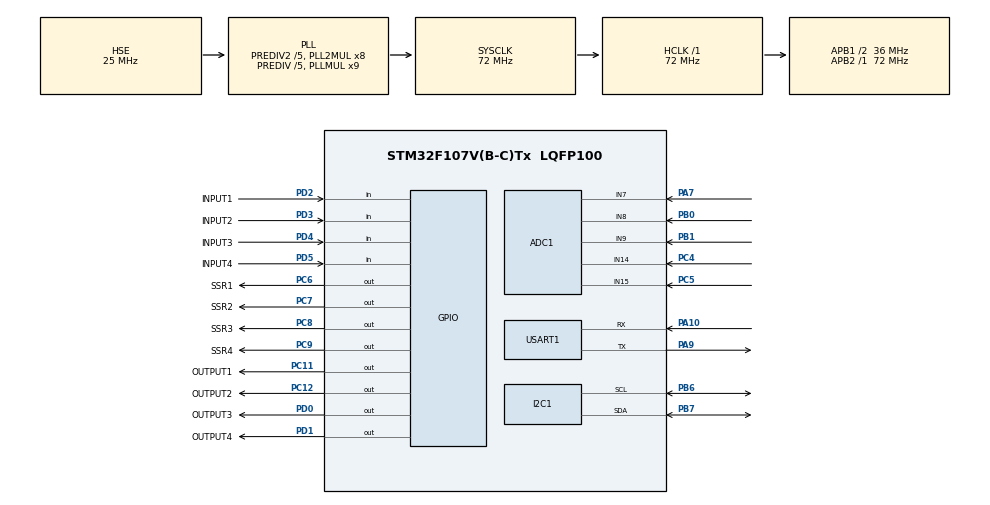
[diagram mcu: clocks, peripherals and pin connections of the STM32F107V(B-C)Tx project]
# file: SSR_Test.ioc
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ADC1.Channel-0\#ChannelRegularConversion=ADC_CHANNEL_14
ADC1.Channel-1\#ChannelRegularConversion=ADC_CHANNEL_15
ADC1.Channel-2\#ChannelRegularConversion=ADC_CHANNEL_8
ADC1.Channel-3\#ChannelRegularConversion=ADC_CHANNEL_9
ADC1.Channel-4\#ChannelRegularConversion=ADC_CHANNEL_7
ADC1.ContinuousConvMode=ENABLE
ADC1.NbrOfConversion=5
ADC1.NbrOfConversionFlag=1
ADC1.Rank-1\#ChannelRegularConversion=2
ADC1.Rank-2\#ChannelRegularConversion=3
ADC1.Rank-3\#ChannelRegularConversion=4
ADC1.Rank-4\#ChannelRegularConversion=5
ADC1.SamplingTime-0\#ChannelRegularConversion=ADC_SAMPLETIME_55CYCLES_5
ADC1.SamplingTime-1\#ChannelRegularConversion=ADC_SAMPLETIME_239CYCLES_5
ADC1.SamplingTime-2\#ChannelRegularConversion=ADC_SAMPLETIME_239CYCLES_5
ADC1.SamplingTime-3\#ChannelRegularConversion=ADC_SAMPLETIME_239CYCLES_5
ADC1.SamplingTime-4\#ChannelRegularConversion=ADC_SAMPLETIME_239CYCLES_5
ADC1.master=1
Dma.ADC1.0.Direction=DMA_PERIPH_TO_MEMORY
Dma.ADC1.0.Instance=DMA1_Channel1
Dma.ADC1.0.MemDataAlignment=DMA_MDATAALIGN_WORD
Dma.ADC1.0.MemInc=DMA_MINC_ENABLE
Dma.ADC1.0.Mode=DMA_CIRCULAR
Dma.ADC1.0.PeriphDataAlignment=DMA_PDATAALIGN_WORD
Dma.ADC1.0.PeriphInc=DMA_PINC_DISABLE
Dma.ADC1.0.Priority=DMA_PRIORITY_LOW
Dma.Request0=ADC1
I2C1.GeneralCallMode=I2C_GENERALCALL_DISABLE
I2C1.I2C_Mode=I2C_Standard
I2C1.NoStretchMode=I2C_NOSTRETCH_DISABLE
I2C1.OwnAddress=48
Mcu.Family=STM32F1
Mcu.Name=STM32F107V(B-C)Tx
Mcu.Package=LQFP100
NVIC.DMA1_Channel1_IRQn=true\:0\:0\:false\:false\:true\:false\:true\:true
NVIC.I2C1_ER_IRQn=true\:0\:0\:false\:false\:true\:true\:true\:true
NVIC.I2C1_EV_IRQn=true\:0\:0\:false\:false\:true\:true\:true\:true
NVIC.PriorityGroup=NVIC_PRIORITYGROUP_4
OSC_IN.Mode=HSE-External-Oscillator
OSC_IN.Signal=RCC_OSC_IN
OSC_OUT.Mode=HSE-External-Oscillator
OSC_OUT.Signal=RCC_OSC_OUT
PA10.Mode=Asynchronous
PA10.Signal=USART1_RX
PA13.Mode=Serial_Wire
PA13.Signal=SYS_JTMS-SWDIO
PA14.Mode=Serial_Wire
PA14.Signal=SYS_JTCK-SWCLK
PA7.Signal=ADCx_IN7
PA9.Mode=Asynchronous
PA9.Signal=USART1_TX
PB0.Signal=ADCx_IN8
PB1.Signal=ADCx_IN9
PB6.Mode=I2C
PB6.Signal=I2C1_SCL
PB7.Mode=I2C
PB7.Signal=I2C1_SDA
PC11.GPIO_Label=OUTPUT1
PC11.Signal=GPIO_Output
PC12.GPIO_Label=OUTPUT2
PC12.Signal=GPIO_Output
PC4.Signal=ADCx_IN14
PC5.Signal=ADCx_IN15
PC6.GPIO_Label=SSR1
PC6.Signal=GPIO_Output
PC7.GPIO_Label=SSR2
PC7.Signal=GPIO_Output
PC8.GPIO_Label=SSR3
PC8.Signal=GPIO_Output
PC9.GPIO_Label=SSR4
PC9.Signal=GPIO_Output
PD0.GPIO_Label=OUTPUT3
PD0.Signal=GPIO_Output
PD1.GPIO_Label=OUTPUT4
PD1.Signal=GPIO_Output
PD2.GPIO_Label=INPUT1
PD2.Signal=GPIO_Input
PD3.GPIO_Label=INPUT2
PD3.Signal=GPIO_Input
PD4.GPIO_Label=INPUT3
PD4.Signal=GPIO_Input
PD5.GPIO_Label=INPUT4
PD5.Signal=GPIO_Input
ProjectManager.HeapSize=0x200
ProjectManager.StackSize=0x400
ProjectManager.TargetToolchain=STM32CubeIDE
RCC.ADCPresc=RCC_ADCPCLK2_DIV6
RCC.AHBFreq_Value=72000000
RCC.APB1CLKDivider=RCC_HCLK_DIV2
RCC.APB1Freq_Value=36000000
RCC.APB1TimFreq_Value=72000000
RCC.APB2Freq_Value=72000000
RCC.APB2TimFreq_Value=72000000
RCC.HCLKFreq_Value=72000000
RCC.HSEDivPLL=RCC_HSE_PREDIV_DIV5
RCC.HSE_VALUE=25000000
RCC.PLLMUL=RCC_PLL_MUL9
RCC.PLLSourceVirtual=RCC_PLLSOURCE_HSE
RCC.Prediv1Source=RCC_PREDIV1_SOURCE_PLL2
RCC.Prediv2=RCC_HSE_PREDIV2_DIV5
RCC.SYSCLKFreq_VALUE=72000000
RCC.SYSCLKSource=RCC_SYSCLKSOURCE_PLLCLK
RCC.USBFreq_Value=48000000
SH.ADCx_IN14.0=ADC1_IN14,IN14
SH.ADCx_IN15.0=ADC1_IN15,IN15
SH.ADCx_IN7.0=ADC1_IN7,IN7
SH.ADCx_IN8.0=ADC1_IN8,IN8
SH.ADCx_IN9.0=ADC1_IN9,IN9
TIM2.Period=0xffff
TIM2.Prescaler=71
USART1.VirtualMode=VM_ASYNC
VP_TIM2_VS_ClockSourceINT.Mode=Internal
board=custom

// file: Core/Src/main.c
/* USER CODE BEGIN Header */
/**
  ******************************************************************************
  * @file           : main.c
  * @brief          : Main program body
  ******************************************************************************
  * @attention
  *
  * Copyright (c) 2023 STMicroelectronics.
  * All rights reserved.
  *
  * This software is licensed under terms that can be found in the LICENSE file
  * in the root directory of this software component.
  * If no LICENSE file comes with this software, it is provided AS-IS.
  *
  ******************************************************************************
  */
/* USER CODE END Header */
#include "main.h"

/* USER CODE BEGIN Includes */
#include <math.h>
#include <stdbool.h>
/* USER CODE END Includes */

ADC_HandleTypeDef hadc1;
DMA_HandleTypeDef hdma_adc1;

I2C_HandleTypeDef hi2c1;

TIM_HandleTypeDef htim2;

UART_HandleTypeDef huart1;

/* USER CODE BEGIN PV */
uint32_t ADC_ConvertedValues[4]; // Array to store ADC converted values

/* USER CODE END PV */

void SystemClock_Config(void);
static void MX_GPIO_Init(void);
static void MX_DMA_Init(void);
static void MX_I2C1_Init(void);
static void MX_ADC1_Init(void);
static void MX_TIM2_Init(void);
static void MX_USART1_UART_Init(void);

/* USER CODE BEGIN 0 */

#include <stdbool.h>
#include <math.h>

#define ADC_8BIT 8 // ADC bit depth
#define ADC_10BIT 10
#define ADC_12BIT 12
#define ADC_16BIT 16

#define BLR_ON 1 // baseline restore switch option
#define BLR_OFF 0

#define SGL_SCAN 1 // single scan mode
#define CNT_SCAN 0 // continuous scanning mode

#define AC_FREQ 60
const double TIP_1_PWM = 0.9;
const double TIP_2_PWM = 0.9;
const double TIP_3_PWM = 0.9;
const double TIP_4_PWM = 0.9;

const uint32_t period = 1000/AC_FREQ; // PWM period in milliseconds
uint32_t tip_1_onTime = TIP_1_PWM*period;
uint32_t tip_2_onTime = TIP_2_PWM*period;
uint32_t tip_3_onTime = TIP_3_PWM*period;
uint32_t tip_4_onTime = TIP_4_PWM*period;

typedef struct Rms {
    int instVal;
    float rmsVal;
    int dcBias;
    bool acquire;
    bool acqRdy;

    // private members
    bool blr; // baseline restoration switch
    bool mode;
    int rmsWindow;
    float alpha; // baseline restoration filter constant
    int error;
    short sampleIdx;
    float scaling;
    float scalingSq;
    float msVal;
    float sumInstVal;
    float temp_sumInstVal;
    float temp_sumSqInstVal;
    float sumSqInstVal;
} Rms;

void Rms_begin(Rms *self, float _range, unsigned char _rmsWindow, unsigned char _adcNob, bool _blr, bool _mode);
void Rms_start(Rms *self);
void Rms_stop(Rms *self);
void Rms_update(Rms *self, int _instVal);
void Rms_publish(Rms *self);

void Rms_begin(Rms *self, float _range, unsigned char _rmsWindow, unsigned char _adcNob, bool _blr, bool _mode) {
    self->mode = _mode;
    self->rmsWindow = _rmsWindow;
    self->blr = _blr;
    self->dcBias = pow(2, _adcNob) / 2; // dc-bias starting value
    self->scalingSq = (_range * _range) / (float)(self->rmsWindow * pow(2, 2 * _adcNob));
    self->temp_sumSqInstVal = 0;
    self->sampleIdx = 0;
    self->alpha = 0.7; // baseline restoration filter constant
}

void Rms_start(Rms *self) {
    self->acquire = true;
    self->acqRdy = false;
}

void Rms_stop(Rms *self) {
    self->acquire = false;
}

void Rms_update(Rms *self, int _instVal) {
    if (self->acquire) {
        if (self->blr) {
            self->instVal = _instVal - self->dcBias; // subtract DC-offset to restore the baseline.
            self->temp_sumInstVal += self->instVal;
        } else {
            self->instVal = _instVal;
        }
        self->temp_sumSqInstVal += (float)self->instVal * (float)self->instVal;
        if (self->sampleIdx == self->rmsWindow) {
            self->sumSqInstVal = self->temp_sumSqInstVal;
            if (self->blr) {
                self->sumInstVal = self->alpha * self->temp_sumInstVal + (1 - self->alpha) * self->sumInstVal; // calculate running average of sum instant values.
                self->error = (int)round(self->sumInstVal / self->rmsWindow); // calculate error of DC-bias
                self->dcBias = self->dcBias + self->error; // restore baseline
                self->temp_sumInstVal = 0;
                if (self->mode == SGL_SCAN) { //update status bits
                   self->acquire = false;
                self->acqRdy = true;
            }
        }
        self->temp_sumSqInstVal = 0;
        self->sampleIdx = 0;
    }
    self->sampleIdx++;
}
}

void Rms_publish(Rms *self) {
self->msVal = self->sumSqInstVal * self->scalingSq;
self->rmsVal = sqrt(self->msVal);
self->acqRdy = false;
}

#define LPERIOD 1000    // loop period time in us. In this case 1.0ms
#define ADC_INPUT 0     // define the used ADC input channel
//#define RMS_WINDOW 40   // rms window of 40 samples, means 2 periods @50Hz
#define RMS_WINDOW 50   // rms window of 50 samples, means 3 periods @60Hz

unsigned long nextLoop;
int adcVal;
int cnt=0;
float VoltRange = 5; // The full scale value is set to 5.00 Volts but can be changed when using an
                        // input scaling circuit in front of the ADC.

Rms readRms1;
Rms readRms2;
Rms readRms3;
Rms readRms4;

uint8_t received_data[9]={0,0,0,0,0,0,0};
uint8_t sent_data[11];
uint32_t overflow_count = 0; //variable to store overflow count
uint64_t microseconds = 0; //variable to store current microseconds
volatile uint8_t i2c_error_flag = 0;

uint64_t timeout = 500; // 500 milliseconds
uint64_t previous_time=0;

void TIM2_IRQHandler(void) //timer interrupt handler
{
    if (__HAL_TIM_GET_FLAG(&htim2, TIM_FLAG_UPDATE) != RESET) //check for update flag
    {
        if (__HAL_TIM_GET_IT_SOURCE(&htim2, TIM_IT_UPDATE) != RESET) //check for update interrupt
        {
            __HAL_TIM_CLEAR_IT(&htim2, TIM_IT_UPDATE); //clear update interrupt flag
            overflow_count++; //increment overflow count
        }
    }
}
void init_timer(void) //timer initialization function
{
    __HAL_RCC_TIM2_CLK_ENABLE(); //enable timer clock

    htim2.Instance = TIM2; //set timer instance
    htim2.Init.Period = 0xFFFF; //set timer period
    htim2.Init.Prescaler = 71; //set timer prescaler for microseconds
    htim2.Init.ClockDivision = 0;
    htim2.Init.CounterMode = TIM_COUNTERMODE_UP;
    htim2.Init.RepetitionCounter = 0;
    if (HAL_TIM_Base_Init(&htim2) != HAL_OK) //initialize timer
    {
        //Error_Handler(); //handle error
    }

    HAL_NVIC_SetPriority(TIM2_IRQn, 0, 0); //set timer interrupt priority
    HAL_NVIC_EnableIRQ(TIM2_IRQn); //enable timer interrupt
    __HAL_TIM_ENABLE_IT(&htim2, TIM_IT_UPDATE); //enable update interrupt
    HAL_TIM_Base_Start(&htim2); //start timer
}
uint64_t micros(void) //function to get current microseconds
{
    microseconds = (uint64_t)overflow_count * (0xFFFF + 1) + __HAL_TIM_GET_COUNTER(&htim2); //update microseconds
    return microseconds;
}

void delayMicroseconds(uint64_t us)
{
	uint64_t _current_us = micros();
	while(micros() - _current_us < us );
}

uint64_t millis(void) //function to get current milliseconds
{
    return micros() / 1000;
}

#define I2C_TIMEOUT 100

void I2C_Error_Handler(I2C_HandleTypeDef *hi2c) {
    // Check for errors and clear flags
    if (__HAL_I2C_GET_FLAG(hi2c, I2C_FLAG_AF)) {
        // Clear the Acknowledge Failure Flag
        __HAL_I2C_CLEAR_FLAG(hi2c, I2C_FLAG_AF);
    }

    if (__HAL_I2C_GET_FLAG(hi2c, I2C_FLAG_ARLO)) {
        // Clear the Arbitration Lost Flag
        __HAL_I2C_CLEAR_FLAG(hi2c, I2C_FLAG_ARLO);
    }

    if (__HAL_I2C_GET_FLAG(hi2c, I2C_FLAG_BERR)) {
        // Clear the Bus Error Flag
        __HAL_I2C_CLEAR_FLAG(hi2c, I2C_FLAG_BERR);
    }

    if (__HAL_I2C_GET_FLAG(hi2c, I2C_FLAG_OVR)) {
        // Clear the Overrun/Underrun Flag
        __HAL_I2C_CLEAR_FLAG(hi2c, I2C_FLAG_OVR);
    }

    // Reset the I2C peripheral
    HAL_I2C_DeInit(hi2c);
    HAL_I2C_Init(hi2c);

    // Re-enable I2C listening after resetting the peripheral
    HAL_I2C_EnableListen_IT(hi2c);

    // Wait for the bus to become free
    while (HAL_I2C_GetState(hi2c) != HAL_I2C_STATE_READY) {
        HAL_Delay(1);
    }
}

#define MAX_CONSECUTIVE_ERRORS 3

uint8_t consecutive_errors = 0;

void HAL_I2C_AddrCallback(I2C_HandleTypeDef *hi2c, uint8_t TransferDirection, uint16_t AddrMatchCode)
{
	HAL_StatusTypeDef status;

	if (TransferDirection == I2C_DIRECTION_TRANSMIT)
	{
		do {
			status = HAL_I2C_Slave_Sequential_Receive_IT(hi2c, received_data, 9, I2C_LAST_FRAME);
			if (status != HAL_OK) {
				// Receive error
				I2C_Error_Handler(&hi2c1);
			} else {
				// Update the states and timers after receiving new data
				previous_time = millis();
				consecutive_errors = 0;
			}
		} while (status != HAL_OK && consecutive_errors < MAX_CONSECUTIVE_ERRORS);
	}
	else
	{
		do {
			status = HAL_I2C_Slave_Sequential_Transmit_IT(hi2c, sent_data, 11, I2C_LAST_FRAME);
			if (status != HAL_OK) {
				// Transmission error
				I2C_Error_Handler(&hi2c1);
			} else {
				consecutive_errors = 0;
			}
		} while (status != HAL_OK && consecutive_errors < MAX_CONSECUTIVE_ERRORS);
	}
}

void HAL_I2C_ListenCpltCallback(I2C_HandleTypeDef *hi2c)
{
	// Re-enable I2C listening after a complete transaction
	HAL_I2C_EnableListen_IT(hi2c);
}

void no_color(void) {
    HAL_GPIO_WritePin(OUTPUT2_GPIO_Port, OUTPUT2_Pin, GPIO_PIN_RESET);
    HAL_GPIO_WritePin(OUTPUT3_GPIO_Port, OUTPUT3_Pin, GPIO_PIN_RESET);
}

void red_color(void) {
    HAL_GPIO_WritePin(OUTPUT2_GPIO_Port, OUTPUT2_Pin, GPIO_PIN_RESET);
    HAL_GPIO_WritePin(OUTPUT3_GPIO_Port, OUTPUT3_Pin, GPIO_PIN_SET);
}

void green_color(void) {
    HAL_GPIO_WritePin(OUTPUT2_GPIO_Port, OUTPUT2_Pin, GPIO_PIN_SET);
    HAL_GPIO_WritePin(OUTPUT3_GPIO_Port, OUTPUT3_Pin, GPIO_PIN_RESET);
}

void yellow_color(void) {
    HAL_GPIO_WritePin(OUTPUT2_GPIO_Port, OUTPUT2_Pin, GPIO_PIN_SET);
    HAL_GPIO_WritePin(OUTPUT3_GPIO_Port, OUTPUT3_Pin, GPIO_PIN_SET);
}

void set_led_color(uint8_t led_color) {
    switch (led_color) {
        case 0: // No color
            no_color();
            break;
        case 1: // Red color
        	green_color();
            break;
        case 2: // Green color
            red_color();
            break;
        case 3: // Yellow color
            yellow_color();
            break;
        default:
            break;
    }
}

uint8_t FLAG_TIP_1_ON=0;
uint32_t currentTime=0;

void print_string(const char *str) {
  HAL_UART_Transmit(&huart1, (uint8_t *)str, strlen(str), 1000);
}

void print_uint16(uint16_t number) {
  char num_buffer[6];
  uint8_t i = 0;

  if (number == 0) {
    print_string("0");
    return;
  }

  while (number > 0) {
    num_buffer[i++] = '0' + (number % 10);
    number /= 10;
  }

  // Reverse the string
  for (uint8_t j = 0; j < i / 2; j++) {
    char temp = num_buffer[j];
    num_buffer[j] = num_buffer[i - j - 1];
    num_buffer[i - j - 1] = temp;
  }

  num_buffer[i] = '\0';
  print_string(num_buffer);
}

void print_uint32(uint32_t number) {
  char num_buffer[11]; // Buffer size increased to accommodate uint32_t
  uint8_t i = 0;

  if (number == 0) {
    print_string("0");
    return;
  }

  while (number > 0) {
    num_buffer[i++] = '0' + (number % 10);
    number /= 10;
  }

  // Reverse the string
  for (uint8_t j = 0; j < i / 2; j++) {
    char temp = num_buffer[j];
    num_buffer[j] = num_buffer[i - j - 1];
    num_buffer[i - j - 1] = temp;
  }

  num_buffer[i] = '\0';
  print_string(num_buffer);
}

void print_int16(int16_t number) {
  char num_buffer[7];
  uint8_t i = 0;

  if (number == 0) {
    print_string("0");
    return;
  }

  if (number < 0) {
    print_string("-");
    number = -number;
  }

  while (number > 0) {
    num_buffer[i++] = '0' + (number % 10);
    number /= 10;
  }

  // Reverse the string
  for (uint8_t j = 0; j < i / 2; j++) {
    char temp = num_buffer[j];
    num_buffer[j] = num_buffer[i - j - 1];
    num_buffer[i - j - 1] = temp;
  }

  num_buffer[i] = '\0';
  print_string(num_buffer);
}

void print_number(uint32_t number) {
  char num_buffer[12];
  uint8_t i = 0;

  if (number == 0) {
    print_string("0");
    return;
  }

  while (number > 0) {
    num_buffer[i++] = '0' + (number % 10);
    number /= 10;
  }

  // Reverse the string
  for (uint8_t j = 0; j < i / 2; j++) {
    char temp = num_buffer[j];
    num_buffer[j] = num_buffer[i - j - 1];
    num_buffer[i - j - 1] = temp;
  }

  num_buffer[i] = '\0';
  print_string(num_buffer);
}

void print_uint64(uint64_t number) {
  char num_buffer[21]; // Large enough buffer for a 64-bit unsigned integer (20 digits + null terminator)
  uint8_t i = 0;

  if (number == 0) {
    print_string("0");
    return;
  }

  while (number > 0) {
    num_buffer[i++] = '0' + (number % 10);
    number /= 10;
  }

  // Reverse the string
  for (uint8_t j = 0; j < i / 2; j++) {
    char temp = num_buffer[j];
    num_buffer[j] = num_buffer[i - j - 1];
    num_buffer[i - j - 1] = temp;
  }

  num_buffer[i] = '\0';
  print_string(num_buffer);
}

void print_float(float number) {
  int32_t int_part = (int32_t)number;
  uint32_t frac_part = (uint32_t)((number - int_part) * 100);

  if (number < 0) {
    print_string("-");
    int_part = -int_part;
    frac_part = -frac_part;
  }

  print_uint32(int_part);
  print_string(".");
  if (frac_part < 10) {
    print_string("0");
  }
  print_uint32(frac_part);
}
/* USER CODE END 0 */

int main(void)
{
  /* USER CODE BEGIN 1 */

	  // configure for automatic base-line restoration and continuous scan mode:
	  Rms_begin(&readRms1, VoltRange, RMS_WINDOW, ADC_12BIT, BLR_ON, CNT_SCAN);
	  Rms_begin(&readRms2, VoltRange, RMS_WINDOW, ADC_12BIT, BLR_ON, CNT_SCAN);
	  Rms_begin(&readRms3, VoltRange, RMS_WINDOW, ADC_12BIT, BLR_ON, CNT_SCAN);
	  Rms_begin(&readRms4, VoltRange, RMS_WINDOW, ADC_12BIT, BLR_ON, CNT_SCAN);
	  Rms_start(&readRms1); //start measuring
	  Rms_start(&readRms2); //start measuring
	  Rms_start(&readRms3); //start measuring
	  Rms_start(&readRms4); //start measuring

	  nextLoop = micros() + LPERIOD; // Set the loop timer variable for the next loop interval.

  /* USER CODE END 1 */

  /* MCU Configuration--------------------------------------------------------*/

  /* Reset of all peripherals, Initializes the Flash interface and the Systick. */
  HAL_Init();

  /* Configure the system clock */
  SystemClock_Config();

  /* Initialize all configured peripherals */
  MX_GPIO_Init();
  MX_DMA_Init();
  MX_I2C1_Init();
  MX_ADC1_Init();
  MX_TIM2_Init();
  MX_USART1_UART_Init();
  /* USER CODE BEGIN 2 */
  HAL_ADC_Start_DMA(&hadc1, ADC_ConvertedValues, 5); // start adc in DMA mode
  HAL_I2C_EnableListen_IT(&hi2c1);
  init_timer();

  /* USER CODE END 2 */

  /* Infinite loop */
  while (1)
  {

    /* USER CODE BEGIN 3 */

		// Inputs Reading
		uint8_t left_switch = HAL_GPIO_ReadPin(INPUT3_GPIO_Port, INPUT3_Pin);
		uint8_t right_switch = HAL_GPIO_ReadPin(INPUT3_GPIO_Port, INPUT3_Pin);
		uint8_t home_switch = HAL_GPIO_ReadPin(INPUT2_GPIO_Port, INPUT2_Pin);

		// Current Reading
		uint16_t current1 = ADC_ConvertedValues[0];
		uint16_t current2 = ADC_ConvertedValues[1];
		uint16_t current3 = ADC_ConvertedValues[2];
		uint16_t current4 = ADC_ConvertedValues[3];
		uint16_t pressure_sensor_val = ADC_ConvertedValues[4];

		print_string("Pressure: ");
		print_number(pressure_sensor_val);
		print_string("\r\n");

		uint16_t adcVal1 = current1;
		uint16_t adcVal2 = current2;
		uint16_t adcVal3 = current3;
		uint16_t adcVal4 = current4;

	    // Read instant value from ADC
		  Rms_update(&readRms1, adcVal1); // for BLR_ON or for DC(+AC) signals with BLR_OFF
		  Rms_update(&readRms2, adcVal2);
		  Rms_update(&readRms3, adcVal3);
		  Rms_update(&readRms4, adcVal4);
		  cnt++;

		  if(cnt >= 50) { // publish every 0.5s
		    Rms_publish(&readRms1);
		    Rms_publish(&readRms2);
		    Rms_publish(&readRms3);
		    Rms_publish(&readRms4);
		    adcVal1 = readRms1.rmsVal*1000;
		    adcVal2 = readRms2.rmsVal*1000;
		    adcVal3 = readRms3.rmsVal*1000;
		    adcVal4 = readRms4.rmsVal*1000;
		  }

		sent_data[0] = right_switch;
		sent_data[1] = left_switch;
		sent_data[2] = home_switch;

		// Store current1 values
		sent_data[3] = (uint8_t)(adcVal1 >> 8);
		sent_data[4] = (uint8_t)(adcVal1 & 0xFF);

		// Store current2 values
		sent_data[5] = (uint8_t)(adcVal2 >> 8);
		sent_data[6] = (uint8_t)(adcVal2 & 0xFF);

		// Store current3 values
		sent_data[7] = (uint8_t)(adcVal3 >> 8);
		sent_data[8] = (uint8_t)(adcVal3 & 0xFF);

		// Store current4 values
		sent_data[9] = (uint8_t)(adcVal4 >> 8);
		sent_data[10] = (uint8_t)(adcVal4 & 0xFF);

	  uint8_t _ssr1_state = received_data [0];
	  uint8_t _ssr2_state = received_data [1];
	  uint8_t _ssr3_state = received_data [2];
	  uint8_t _ssr4_state = received_data [3];

	  uint8_t _cooling_valve = received_data [4];
//	  uint8_t _output4_state = received_data [5];
//	  uint8_t _output5_state = received_data [6];
//	  uint8_t _output6_state = received_data [7];
	  uint8_t _led_color = received_data[8];

	  set_led_color(_led_color);

	  if (millis() - previous_time < timeout)
	  {

		 HAL_GPIO_WritePin(SSR1_GPIO_Port, SSR1_Pin,_ssr1_state);
		 HAL_GPIO_WritePin(SSR2_GPIO_Port, SSR2_Pin, _ssr2_state);
		 HAL_GPIO_WritePin(SSR3_GPIO_Port, SSR3_Pin, _ssr3_state);
		 HAL_GPIO_WritePin(SSR4_GPIO_Port, SSR4_Pin, _ssr4_state);
		 HAL_GPIO_WritePin(OUTPUT1_GPIO_Port, OUTPUT1_Pin, _cooling_valve);
	  }
	  else
	  {
		  // SSRS Control
		 HAL_GPIO_WritePin(SSR1_GPIO_Port, SSR1_Pin, 0);
		 HAL_GPIO_WritePin(SSR2_GPIO_Port, SSR2_Pin, 0);
		 HAL_GPIO_WritePin(SSR3_GPIO_Port, SSR3_Pin, 0);
		 HAL_GPIO_WritePin(SSR4_GPIO_Port, SSR4_Pin, 0);
		 HAL_GPIO_WritePin(OUTPUT1_GPIO_Port, OUTPUT1_Pin, 0);
	  }

	 // OUTPUTS Control
//	 HAL_GPIO_WritePin(OUTPUT1_GPIO_Port, OUTPUT1_Pin, right_switch);
//	 HAL_GPIO_WritePin(OUTPUT2_GPIO_Port, OUTPUT2_Pin, left_switch);

//	 HAL_GPIO_WritePin(OUTPUT4_GPIO_Port, OUTPUT4_Pin, _output4_state);
//	 HAL_GPIO_WritePin(OUTPUT5_GPIO_Port, OUTPUT5_Pin, _output5_state);
//	 HAL_GPIO_WritePin(OUTPUT6_GPIO_Port, OUTPUT6_Pin, _output6_state);

	  // wait until the end of the loop time interval
	  while(nextLoop > micros());

	  // set next loop time to current time + LOOP_PERIOD
	  nextLoop += LPERIOD;

  }

  /* USER CODE END 3 */
}

void SystemClock_Config(void)
{
  RCC_OscInitTypeDef RCC_OscInitStruct = {0};
  RCC_ClkInitTypeDef RCC_ClkInitStruct = {0};
  RCC_PeriphCLKInitTypeDef PeriphClkInit = {0};

  /** Initializes the RCC Oscillators according to the specified parameters
  * in the RCC_OscInitTypeDef structure.
  */
  RCC_OscInitStruct.OscillatorType = RCC_OSCILLATORTYPE_HSE;
  RCC_OscInitStruct.HSEState = RCC_HSE_ON;
  RCC_OscInitStruct.HSEPredivValue = RCC_HSE_PREDIV_DIV5;
  RCC_OscInitStruct.HSIState = RCC_HSI_ON;
  RCC_OscInitStruct.Prediv1Source = RCC_PREDIV1_SOURCE_PLL2;
  RCC_OscInitStruct.PLL.PLLState = RCC_PLL_ON;
  RCC_OscInitStruct.PLL.PLLSource = RCC_PLLSOURCE_HSE;
  RCC_OscInitStruct.PLL.PLLMUL = RCC_PLL_MUL9;
  RCC_OscInitStruct.PLL2.PLL2State = RCC_PLL2_ON;
  RCC_OscInitStruct.PLL2.PLL2MUL = RCC_PLL2_MUL8;
  RCC_OscInitStruct.PLL2.HSEPrediv2Value = RCC_HSE_PREDIV2_DIV5;
  if (HAL_RCC_OscConfig(&RCC_OscInitStruct) != HAL_OK)
  {
    Error_Handler();
  }

  /** Initializes the CPU, AHB and APB buses clocks
  */
  RCC_ClkInitStruct.ClockType = RCC_CLOCKTYPE_HCLK|RCC_CLOCKTYPE_SYSCLK
                              |RCC_CLOCKTYPE_PCLK1|RCC_CLOCKTYPE_PCLK2;
  RCC_ClkInitStruct.SYSCLKSource = RCC_SYSCLKSOURCE_PLLCLK;
  RCC_ClkInitStruct.AHBCLKDivider = RCC_SYSCLK_DIV1;
  RCC_ClkInitStruct.APB1CLKDivider = RCC_HCLK_DIV2;
  RCC_ClkInitStruct.APB2CLKDivider = RCC_HCLK_DIV1;

  if (HAL_RCC_ClockConfig(&RCC_ClkInitStruct, FLASH_LATENCY_2) != HAL_OK)
  {
    Error_Handler();
  }
  PeriphClkInit.PeriphClockSelection = RCC_PERIPHCLK_ADC;
  PeriphClkInit.AdcClockSelection = RCC_ADCPCLK2_DIV6;
  if (HAL_RCCEx_PeriphCLKConfig(&PeriphClkInit) != HAL_OK)
  {
    Error_Handler();
  }

  /** Configure the Systick interrupt time
  */
  __HAL_RCC_PLLI2S_ENABLE();
}

static void MX_ADC1_Init(void)
{

  ADC_ChannelConfTypeDef sConfig = {0};

  /** Common config
  */
  hadc1.Instance = ADC1;
  hadc1.Init.ScanConvMode = ADC_SCAN_ENABLE;
  hadc1.Init.ContinuousConvMode = ENABLE;
  hadc1.Init.DiscontinuousConvMode = DISABLE;
  hadc1.Init.ExternalTrigConv = ADC_SOFTWARE_START;
  hadc1.Init.DataAlign = ADC_DATAALIGN_RIGHT;
  hadc1.Init.NbrOfConversion = 5;
  if (HAL_ADC_Init(&hadc1) != HAL_OK)
  {
    Error_Handler();
  }

  /** Configure Regular Channel
  */
  sConfig.Channel = ADC_CHANNEL_14;
  sConfig.Rank = ADC_REGULAR_RANK_1;
  sConfig.SamplingTime = ADC_SAMPLETIME_55CYCLES_5;
  if (HAL_ADC_ConfigChannel(&hadc1, &sConfig) != HAL_OK)
  {
    Error_Handler();
  }

  /** Configure Regular Channel
  */
  sConfig.Channel = ADC_CHANNEL_15;
  sConfig.Rank = ADC_REGULAR_RANK_2;
  sConfig.SamplingTime = ADC_SAMPLETIME_239CYCLES_5;
  if (HAL_ADC_ConfigChannel(&hadc1, &sConfig) != HAL_OK)
  {
    Error_Handler();
  }

  /** Configure Regular Channel
  */
  sConfig.Channel = ADC_CHANNEL_8;
  sConfig.Rank = ADC_REGULAR_RANK_3;
  if (HAL_ADC_ConfigChannel(&hadc1, &sConfig) != HAL_OK)
  {
    Error_Handler();
  }

  /** Configure Regular Channel
  */
  sConfig.Channel = ADC_CHANNEL_9;
  sConfig.Rank = ADC_REGULAR_RANK_4;
  if (HAL_ADC_ConfigChannel(&hadc1, &sConfig) != HAL_OK)
  {
    Error_Handler();
  }

  /** Configure Regular Channel
  */
  sConfig.Channel = ADC_CHANNEL_7;
  sConfig.Rank = ADC_REGULAR_RANK_5;
  if (HAL_ADC_ConfigChannel(&hadc1, &sConfig) != HAL_OK)
  {
    Error_Handler();
  }

}

static void MX_I2C1_Init(void)
{

  hi2c1.Instance = I2C1;
  hi2c1.Init.ClockSpeed = 100000;
  hi2c1.Init.DutyCycle = I2C_DUTYCYCLE_2;
  hi2c1.Init.OwnAddress1 = 96;
  hi2c1.Init.AddressingMode = I2C_ADDRESSINGMODE_7BIT;
  hi2c1.Init.DualAddressMode = I2C_DUALADDRESS_DISABLE;
  hi2c1.Init.OwnAddress2 = 0;
  hi2c1.Init.GeneralCallMode = I2C_GENERALCALL_DISABLE;
  hi2c1.Init.NoStretchMode = I2C_NOSTRETCH_DISABLE;
  if (HAL_I2C_Init(&hi2c1) != HAL_OK)
  {
    Error_Handler();
  }

}

static void MX_TIM2_Init(void)
{

  TIM_ClockConfigTypeDef sClockSourceConfig = {0};
  TIM_MasterConfigTypeDef sMasterConfig = {0};

  htim2.Instance = TIM2;
  htim2.Init.Prescaler = 71;
  htim2.Init.CounterMode = TIM_COUNTERMODE_UP;
  htim2.Init.Period = 0xffff;
  htim2.Init.ClockDivision = TIM_CLOCKDIVISION_DIV1;
  htim2.Init.AutoReloadPreload = TIM_AUTORELOAD_PRELOAD_DISABLE;
  if (HAL_TIM_Base_Init(&htim2) != HAL_OK)
  {
    Error_Handler();
  }
  sClockSourceConfig.ClockSource = TIM_CLOCKSOURCE_INTERNAL;
  if (HAL_TIM_ConfigClockSource(&htim2, &sClockSourceConfig) != HAL_OK)
  {
    Error_Handler();
  }
  sMasterConfig.MasterOutputTrigger = TIM_TRGO_RESET;
  sMasterConfig.MasterSlaveMode = TIM_MASTERSLAVEMODE_DISABLE;
  if (HAL_TIMEx_MasterConfigSynchronization(&htim2, &sMasterConfig) != HAL_OK)
  {
    Error_Handler();
  }

}

static void MX_USART1_UART_Init(void)
{

  huart1.Instance = USART1;
  huart1.Init.BaudRate = 115200;
  huart1.Init.WordLength = UART_WORDLENGTH_8B;
  huart1.Init.StopBits = UART_STOPBITS_1;
  huart1.Init.Parity = UART_PARITY_NONE;
  huart1.Init.Mode = UART_MODE_TX_RX;
  huart1.Init.HwFlowCtl = UART_HWCONTROL_NONE;
  huart1.Init.OverSampling = UART_OVERSAMPLING_16;
  if (HAL_UART_Init(&huart1) != HAL_OK)
  {
    Error_Handler();
  }

}

static void MX_DMA_Init(void)
{

  /* DMA controller clock enable */
  __HAL_RCC_DMA1_CLK_ENABLE();

  /* DMA interrupt init */
  /* DMA1_Channel1_IRQn interrupt configuration */
  HAL_NVIC_SetPriority(DMA1_Channel1_IRQn, 0, 0);
  HAL_NVIC_EnableIRQ(DMA1_Channel1_IRQn);

}

static void MX_GPIO_Init(void)
{
  GPIO_InitTypeDef GPIO_InitStruct = {0};

  /* GPIO Ports Clock Enable */
  __HAL_RCC_GPIOA_CLK_ENABLE();
  __HAL_RCC_GPIOC_CLK_ENABLE();
  __HAL_RCC_GPIOB_CLK_ENABLE();
  __HAL_RCC_GPIOD_CLK_ENABLE();

  /*Configure GPIO pin Output Level */
  HAL_GPIO_WritePin(GPIOC, SSR1_Pin|SSR2_Pin|SSR3_Pin|SSR4_Pin
                          |OUTPUT1_Pin|OUTPUT2_Pin, GPIO_PIN_RESET);

  /*Configure GPIO pin Output Level */
  HAL_GPIO_WritePin(GPIOD, OUTPUT3_Pin|OUTPUT4_Pin, GPIO_PIN_RESET);

  /*Configure GPIO pins : SSR1_Pin SSR2_Pin SSR3_Pin SSR4_Pin
                           OUTPUT1_Pin OUTPUT2_Pin */
  GPIO_InitStruct.Pin = SSR1_Pin|SSR2_Pin|SSR3_Pin|SSR4_Pin
                          |OUTPUT1_Pin|OUTPUT2_Pin;
  GPIO_InitStruct.Mode = GPIO_MODE_OUTPUT_PP;
  GPIO_InitStruct.Pull = GPIO_NOPULL;
  GPIO_InitStruct.Speed = GPIO_SPEED_FREQ_LOW;
  HAL_GPIO_Init(GPIOC, &GPIO_InitStruct);

  /*Configure GPIO pins : OUTPUT3_Pin OUTPUT4_Pin */
  GPIO_InitStruct.Pin = OUTPUT3_Pin|OUTPUT4_Pin;
  GPIO_InitStruct.Mode = GPIO_MODE_OUTPUT_PP;
  GPIO_InitStruct.Pull = GPIO_NOPULL;
  GPIO_InitStruct.Speed = GPIO_SPEED_FREQ_LOW;
  HAL_GPIO_Init(GPIOD, &GPIO_InitStruct);

  /*Configure GPIO pins : INPUT1_Pin INPUT2_Pin INPUT3_Pin INPUT4_Pin */
  GPIO_InitStruct.Pin = INPUT1_Pin|INPUT2_Pin|INPUT3_Pin|INPUT4_Pin;
  GPIO_InitStruct.Mode = GPIO_MODE_INPUT;
  GPIO_InitStruct.Pull = GPIO_NOPULL;
  HAL_GPIO_Init(GPIOD, &GPIO_InitStruct);

}

void Error_Handler(void)
{
  /* USER CODE BEGIN Error_Handler_Debug */
  /* User can add his own implementation to report the HAL error return state */
	//MX_I2C1_Init();
//  while (1)
//  {
//  }
  /* USER CODE END Error_Handler_Debug */
}
